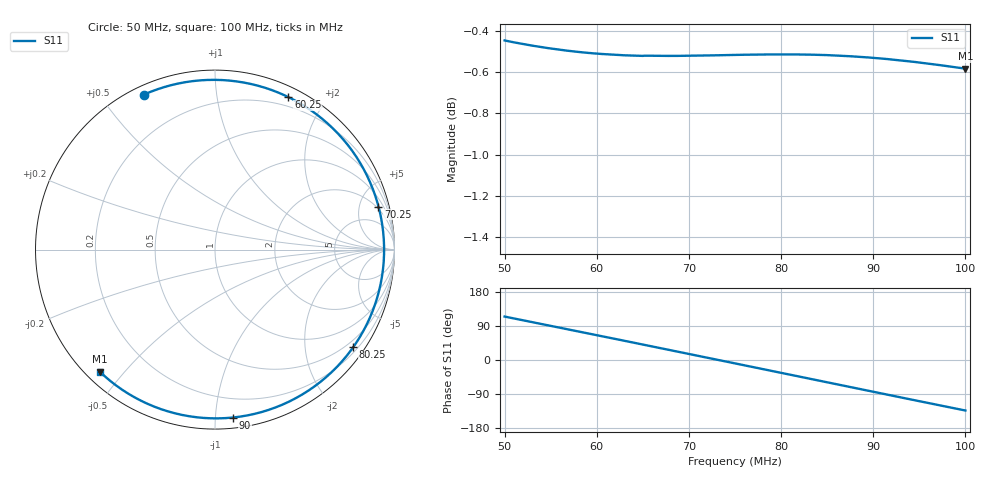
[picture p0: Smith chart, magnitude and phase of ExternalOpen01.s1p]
!Agilent Technologies,E5072A,MY51200456,A.01.06
!Date: Thu Sep 03 21:00:59 2015
!Data & Calibration Information:
!Freq	S11:SOLT1(ON)
!PortZ  Port1:50+j0
!Above PortZ is port z conversion or system Z0 setting when saving the data.
!When reading, reference impedance value at option line is always used.
# Hz S dB R 50
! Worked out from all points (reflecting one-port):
!   201 points, 50 MHz to 100 MHz, reference 50 ohm
!   lowest |S11| = -0.6 dB at 100 MHz (marker M1), VSWR 29.85, Z = 1.99 - j21.5 ohm
!   phase of S11 starts at 115 deg and turns -248 deg over the sweep
!   S11 on the Smith chart (normalised r, x): 50 MHz: 0.04, +0.64; 60.25 MHz: 0.10, +1.59; 70.25 MHz: 1.72, +7.33; 80.25 MHz: 0.32, -3.12; 90 MHz: 0.07, -1.11; 100 MHz: 0.04, -0.43
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5e7  -0.45 114.6
5.175e7  -0.46 106.1
5.325e7  -0.47 98.7
5.475e7  -0.48 91.4
5.625e7  -0.49 84.0
5.825e7  -0.50 74.2
6.025e7  -0.51 64.3
6.25e7  -0.52 53.2
6.575e7  -0.52 37.1
6.725e7  -0.52 29.7
6.875e7  -0.52 22.2
7.025e7  -0.52 14.8
7.275e7  -0.52 2.3
7.5e7  -0.52 -8.9
7.75e7  -0.51 -21.4
8.025e7  -0.51 -35.2
8.125e7  -0.51 -40.2
8.3e7  -0.51 -48.9
8.45e7  -0.52 -56.4
8.6e7  -0.52 -63.9
8.75e7  -0.52 -71.4
9e7  -0.53 -83.9
9.175e7  -0.54 -92.6
9.375e7  -0.55 -102.5
9.525e7  -0.55 -109.9
9.675e7  -0.56 -117.3
9.825e7  -0.57 -124.7
1e8  -0.58 -133.3
